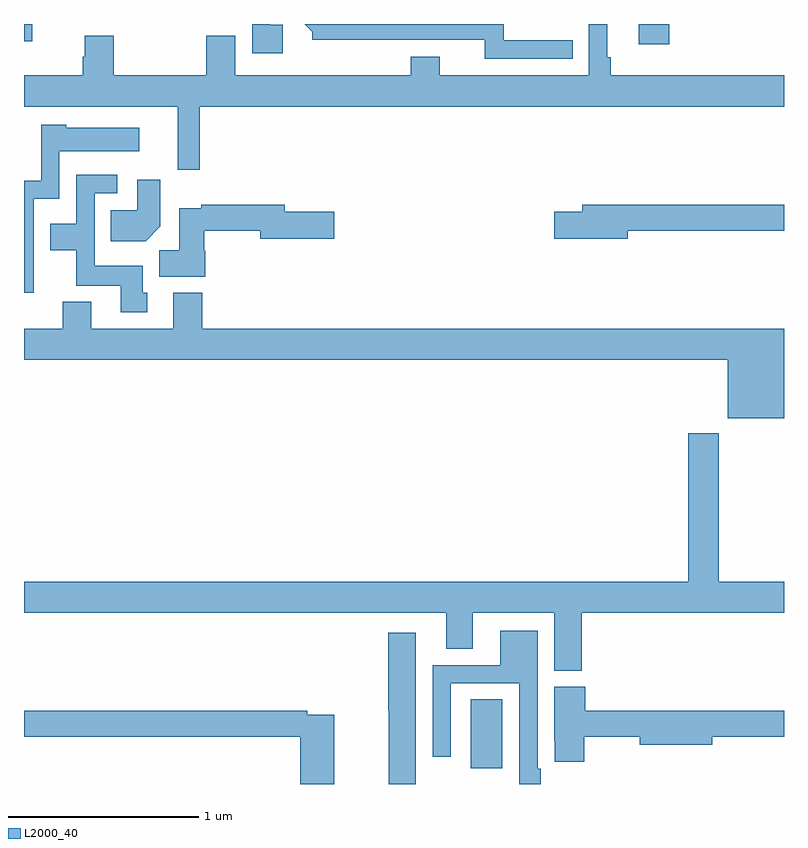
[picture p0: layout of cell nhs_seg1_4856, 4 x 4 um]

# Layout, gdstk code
import gdstk
lib = gdstk.Library(unit=1e-6, precision=1e-09)
def R(c, l, rs):  # rectangles x0, y0, x1, y1
    for r in rs: c.add(gdstk.rectangle(r[:2], r[2:], *l))
def P(c, l, *ps):  # polygons
    for p in ps: c.add(gdstk.Polygon(p, *l))
L2000_40 = (2000, 40)

nhs_seg1_4856 = lib.new_cell('nhs_seg1_4856')
R(nhs_seg1_4856, L2000_40, [(377.351,516.282,377.518,516.644), (378.236,520.092,378.395,520.199), (375,520.107,375.044,520.199)])
P(nhs_seg1_4856, L2000_40, [(375.926,519.764),(379,519.764),(379,519.928),(378.089,519.928),(378.089,520.024),(378.07,520.024),(378.07,520.199),(377.973,520.199),(377.973,519.928),(377.188,519.928),(377.188,520.027),(377.036,520.027),(377.036,519.928),(376.111,519.928),(376.111,520.136),(375.959,520.136),(375.959,519.928),(375.473,519.928),(375.473,520.136),(375.32,520.136),(375.32,520.026),(375.308,520.026),(375.308,519.928),(375,519.928),(375,519.764),(375.809,519.764),(375.809,519.432),(375.926,519.432)],
  [(376.361,520.195),(376.296,520.195),(376.296,520.199),(376.2,520.199),(376.2,520.044),(376.361,520.044)],
  [(377.888,520.113),(377.524,520.113),(377.524,520.199),(376.478,520.199),(376.518,520.159),(376.518,520.115),(376.952,520.115),(376.952,520.116),(377.425,520.116),(377.425,520.017),(377.888,520.017)],
  [(375.052,519.278),(375.186,519.278),(375.186,519.53),(375.607,519.53),(375.607,519.652),(375.222,519.652),(375.222,519.67),(375.09,519.67),(375.09,519.375),(375,519.375),(375,518.784),(375.052,518.784)],
  [(375.649,518.784),(375.625,518.784),(375.625,518.926),(375.372,518.926),(375.372,519.309),(375.49,519.309),(375.49,519.405),(375.276,519.405),(375.276,519.148),(375.137,519.148),(375.137,519.008),(375.274,519.008),(375.274,518.822),(375.509,518.822),(375.509,518.682),(375.649,518.682)],
  [(375.718,519.134),(375.718,519.379),(375.596,519.379),(375.596,519.22),(375.457,519.22),(375.457,519.056),(375.64,519.056)],
  [(378.178,519.112),(379,519.112),(379,519.248),(377.939,519.248),(377.939,519.212),(377.79,519.212),(377.79,519.07),(378.178,519.07)],
  [(375.953,519.006),(375.948,519.006),(375.948,519.112),(376.244,519.112),(376.244,519.07),(376.633,519.07),(376.633,519.212),(376.372,519.212),(376.372,519.248),(375.934,519.248),(375.934,519.23),(375.818,519.23),(375.818,519.008),(375.713,519.008),(375.713,518.87),(375.953,518.87)],
  [(379,518.596),(375.938,518.596),(375.938,518.785),(375.785,518.785),(375.785,518.596),(375.355,518.596),(375.355,518.737),(375.203,518.737),(375.203,518.596),(375,518.596),(375,518.432),(378.704,518.432),(378.704,518.123),(379,518.123)],
  [(377.936,517.1),(379,517.1),(379,517.264),(378.657,517.264),(378.657,518.044),(378.497,518.044),(378.497,517.264),(375,517.264),(375,517.1),(377.222,517.1),(377.222,516.91),(377.362,516.91),(377.362,517.1),(377.792,517.1),(377.792,516.796),(377.936,516.796)],
  [(377.719,516.28),(377.703,516.28),(377.703,517.006),(377.507,517.006),(377.507,516.825),(377.151,516.825),(377.151,516.342),(377.247,516.342),(377.247,516.729),(377.607,516.729),(377.607,516.199),(377.719,516.199)],
  [(377.062,516.996),(376.916,516.996),(376.916,516.584),(376.921,516.584),(376.921,516.199),(377.062,516.199)],
  [(377.949,516.448),(378.242,516.448),(378.242,516.406),(378.622,516.406),(378.622,516.448),(379,516.448),(379,516.584),(377.954,516.584),(377.954,516.711),(377.792,516.711),(377.792,516.427),(377.793,516.427),(377.793,516.315),(377.949,516.315)],
  [(376.632,516.564),(376.49,516.564),(376.49,516.584),(375,516.584),(375,516.448),(376.454,516.448),(376.454,516.199),(376.632,516.199)])

lib.write_gds('nhs_seg1_4856.gds')
